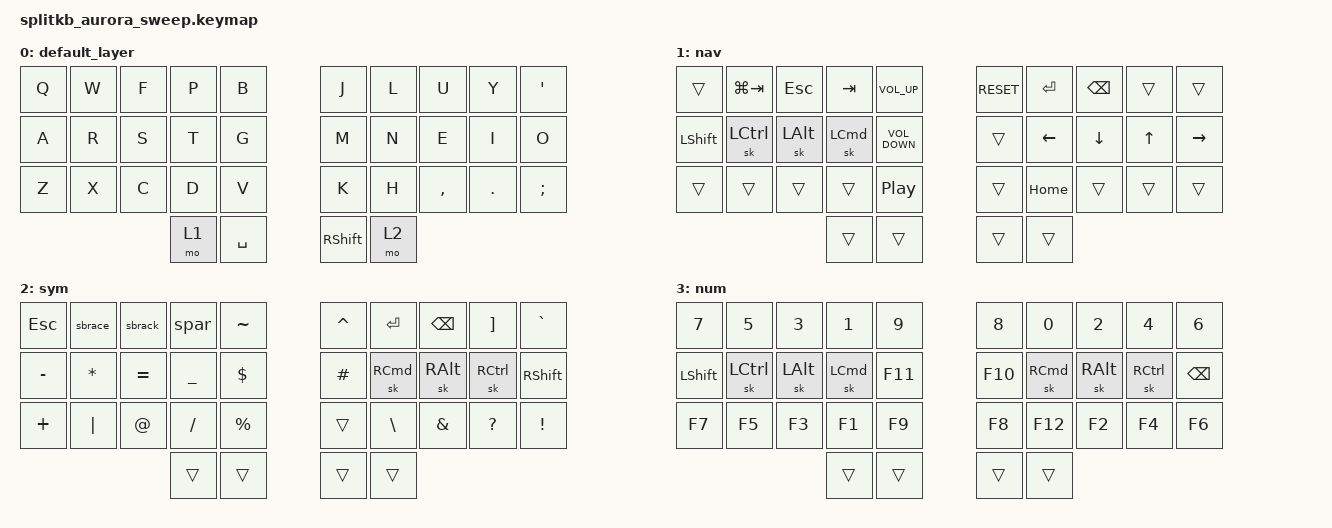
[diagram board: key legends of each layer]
/* 
 * Copyright (c) 2020 The ZMK Contributors
 *
 * SPDX-License-Identifier: MIT
 */

#include <behaviors.dtsi>
#include <dt-bindings/zmk/keys.h>

#define COLEMAKDH 0
#define NAV 1
#define SYM 2
#define NUM 3

&mt {
    flavor = "tap-preferred";
    tapping_term_ms = <200>;
};

/ {
    combos {
        compatible = "zmk,combos";
    };

    behaviors {
        sbrack: shift_bracket {
            compatible = "zmk,behavior-mod-morph";
            label = "SHIFT BRACKET";
            #binding-cells = <0>;
            bindings =
                <&kp LEFT_BRACKET>,
                <&kp RIGHT_BRACKET>;

            mods = <(MOD_LSFT|MOD_RSFT)>;
        };
        sbrace: shift_brace {
            compatible = "zmk,behavior-mod-morph";
            label = "SHIFT BRACE";
            #binding-cells = <0>;
            bindings =
                <&kp LEFT_BRACE>,
                <&kp RIGHT_BRACE>;

            mods = <(MOD_LSFT|MOD_RSFT)>;
        };
        spar: shift_parenthesis {
            compatible = "zmk,behavior-mod-morph";
            label = "SHIFT PARENTHESIS";
            #binding-cells = <0>;
            bindings =
                <&kp LPAR>,
                <&kp RPAR>;

            mods = <(MOD_LSFT|MOD_RSFT)>;
        };
    };

    conditional_layers {
        compatible = "zmk,conditional-layers";

        tri_layer {
            if-layers = <NAV SYM>;
            then-layer = <NUM>;
        };
    };

    keymap {
        compatible = "zmk,keymap";

        default_layer {
            bindings = <
&kp Q  &kp W  &kp F  &kp P      &kp B            &kp J  &kp L      &kp U       &kp Y  &kp SINGLE_QUOTE
&kp A  &kp R  &kp S  &kp T      &kp G            &kp M  &kp N      &kp E       &kp I             &kp O
&kp Z  &kp X  &kp C  &kp D      &kp V            &kp K  &kp H  &kp COMMA  &kp PERIOD          &kp SEMI
                     &mo 1  &kp SPACE  &kp RIGHT_SHIFT  &mo 2
            >;
        };

        nav {
            bindings = <
        &trans       &kp LG(TAB)       &kp ESC           &kp TAB       &kp K_VOL_UP  &kp C_RESET  &kp ENTER  &kp BACKSPACE  &trans     &trans
&kp LEFT_SHIFT  &sk LEFT_CONTROL  &sk LEFT_ALT  &sk LEFT_COMMAND  &kp K_VOLUME_DOWN       &trans   &kp LEFT       &kp DOWN  &kp UP  &kp RIGHT
        &trans            &trans        &trans            &trans   &kp C_PLAY_PAUSE       &trans   &kp HOME         &trans  &trans     &trans
                                                          &trans             &trans       &trans     &trans
            >;
        };

        sym {
            bindings = <
  &kp ESC       &sbrace    &sbrack      &spar    &kp TILDE  &kp CARET          &kp ENTER  &kp BACKSPACE  &kp RIGHT_BRACKET        &kp GRAVE
&kp MINUS  &kp ASTERISK  &kp EQUAL  &kp UNDER   &kp DOLLAR   &kp HASH  &sk RIGHT_COMMAND  &sk RIGHT_ALT          &sk RCTRL  &kp RIGHT_SHIFT
 &kp PLUS      &kp PIPE     &kp AT  &kp SLASH  &kp PERCENT     &trans      &kp BACKSLASH  &kp AMPERSAND       &kp QUESTION  &kp EXCLAMATION
                                       &trans       &trans     &trans             &trans
            >;
        };

        num {
            bindings = <
  &kp NUMBER_7  &kp NUMBER_5  &kp NUMBER_3      &kp NUMBER_1  &kp NUMBER_9  &kp NUMBER_8       &kp NUMBER_0   &kp NUMBER_2       &kp NUMBER_4   &kp NUMBER_6
&kp LEFT_SHIFT     &sk LCTRL  &sk LEFT_ALT  &sk LEFT_COMMAND       &kp F11       &kp F10  &sk RIGHT_COMMAND  &sk RIGHT_ALT  &sk RIGHT_CONTROL  &kp BACKSPACE
        &kp F7        &kp F5        &kp F3            &kp F1        &kp F9        &kp F8            &kp F12         &kp F2             &kp F4         &kp F6
                                                      &trans        &trans        &trans             &trans
            >;
        };
    };
};
